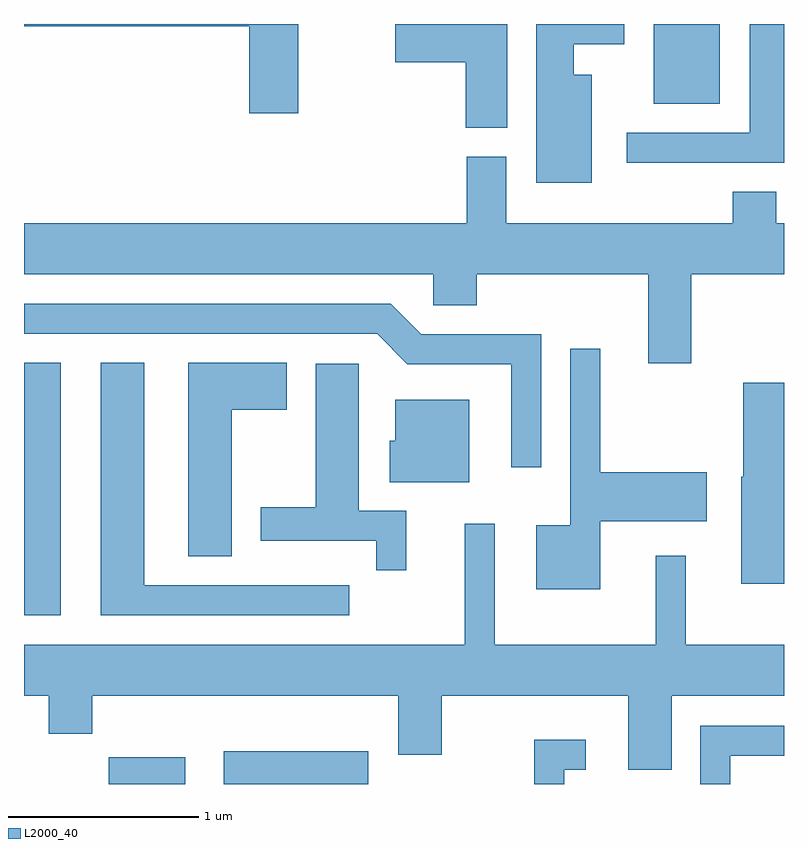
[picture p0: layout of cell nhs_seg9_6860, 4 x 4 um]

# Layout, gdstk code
import gdstk
lib = gdstk.Library(unit=1e-6, precision=1e-09)
def R(c, l, rs):  # rectangles x0, y0, x1, y1
    for r in rs: c.add(gdstk.rectangle(r[:2], r[2:], *l))
def P(c, l, *ps):  # polygons
    for p in ps: c.add(gdstk.Polygon(p, *l))
L2000_40 = (2000, 40)

nhs_seg9_6860 = lib.new_cell('nhs_seg9_6860')
R(nhs_seg9_6860, L2000_40, [(388.056,2022.432,388.459,2022.574), (388.661,2022.432,389.424,2022.604), (387.611,2023.321,387.804,2024.649), (390.926,2026.011,391.274,2026.432)])
P(nhs_seg9_6860, L2000_40, [(390.154,2026.432),(389.566,2026.432),(389.566,2026.231),(389.936,2026.231),(389.936,2025.886),(390.154,2025.886)],
  [(391.611,2026.432),(391.431,2026.432),(391.431,2025.859),(390.783,2025.859),(390.783,2025.701),(391.611,2025.701)],
  [(389.054,2026.432),(387.611,2026.432),(387.611,2026.421),(388.796,2026.421),(388.796,2025.961),(389.054,2025.961)],
  [(390.599,2026.164),(390.504,2026.164),(390.504,2026.326),(390.769,2026.326),(390.769,2026.432),(390.306,2026.432),(390.306,2025.596),(390.599,2025.596)],
  [(391.124,2025.116),(391.611,2025.116),(391.611,2025.384),(391.569,2025.384),(391.569,2025.549),(391.341,2025.549),(391.341,2025.384),(390.149,2025.384),(390.149,2025.734),(389.941,2025.734),(389.941,2025.384),(387.611,2025.384),(387.611,2025.116),(389.766,2025.116),(389.766,2024.951),(389.994,2024.951),(389.994,2025.116),(390.896,2025.116),(390.896,2024.646),(391.124,2024.646)],
  [(390.334,2024.799),(389.702,2024.799),(389.542,2024.959),(387.611,2024.959),(387.611,2024.801),(389.469,2024.801),(389.629,2024.641),(390.176,2024.641),(390.176,2024.098),(390.334,2024.098)],
  [(390.644,2023.816),(391.204,2023.816),(391.204,2024.074),(390.644,2024.074),(390.644,2024.723),(390.486,2024.723),(390.486,2023.794),(390.306,2023.794),(390.306,2023.456),(390.644,2023.456)],
  [(388.704,2024.401),(388.994,2024.401),(388.994,2024.649),(388.476,2024.649),(388.476,2023.631),(388.704,2023.631)],
  [(389.323,2023.479),(388.244,2023.479),(388.244,2024.649),(388.016,2024.649),(388.016,2023.321),(389.323,2023.321)],
  [(389.624,2023.869),(389.374,2023.869),(389.374,2024.644),(389.146,2024.644),(389.146,2023.889),(388.856,2023.889),(388.856,2023.711),(389.466,2023.711),(389.466,2023.558),(389.624,2023.558)],
  [(391.611,2024.544),(391.396,2024.544),(391.396,2024.05),(391.386,2024.05),(391.386,2023.486),(391.611,2023.486)],
  [(389.954,2024.454),(389.566,2024.454),(389.566,2024.239),(389.536,2024.239),(389.536,2024.021),(389.954,2024.021)],
  [(391.019,2022.896),(391.611,2022.896),(391.611,2023.164),(391.094,2023.164),(391.094,2023.633),(390.936,2023.633),(390.936,2023.164),(390.089,2023.164),(390.089,2023.803),(389.931,2023.803),(389.931,2023.164),(387.611,2023.164),(387.611,2022.896),(387.741,2022.896),(387.741,2022.696),(387.969,2022.696),(387.969,2022.896),(389.581,2022.896),(389.581,2022.586),(389.809,2022.586),(389.809,2022.896),(390.791,2022.896),(390.791,2022.506),(391.019,2022.506)],
  [(391.329,2022.581),(391.611,2022.581),(391.611,2022.739),(391.171,2022.739),(391.171,2022.432),(391.329,2022.432)],
  [(390.454,2022.506),(390.568,2022.506),(390.568,2022.664),(390.296,2022.664),(390.296,2022.432),(390.454,2022.432)])

lib.write_gds('nhs_seg9_6860.gds')
